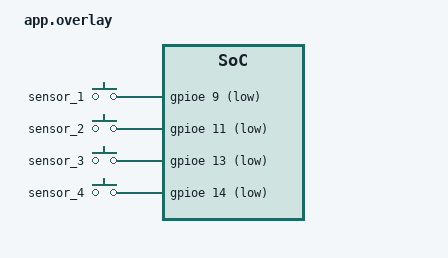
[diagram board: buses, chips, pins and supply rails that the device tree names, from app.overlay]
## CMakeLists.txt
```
# SPDX-License-Identifier: Apache-2.0

cmake_minimum_required(VERSION 3.20.0)
set(CMAKE_CXX_STANDARD 17)
find_package(Zephyr REQUIRED HINTS $ENV{ZEPHYR_BASE})
project(arm_bridge)

file(GLOB app_sources src/*.c)

include_directories(${ZEPHYR_BASE}/include)
include_directories(${CMAKE_CURRENT_SOURCE_DIR}/include)
include_directories(${CMAKE_CURRENT_SOURCE_DIR}/dts)
target_sources(app PRIVATE ${app_sources})
target_include_directories(app PRIVATE ${ZEPHYR_BASE}/include)
target_include_directories(app PRIVATE ${CMAKE_CURRENT_SOURCE_DIR}/include)
target_include_directories(app PRIVATE ${CMAKE_CURRENT_SOURCE_DIR}/dts)
```

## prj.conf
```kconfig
CONFIG_CMSIS_DSP=y
CONFIG_CMSIS_DSP_CONTROLLER=y
CONFIG_CMSIS_DSP_FASTMATH=y

CONFIG_MOTOR=y
CONFIG_MOTOR_COMMON=y
CONFIG_MOTOR_DM=y
CONFIG_MOTOR_VESC=y
CONFIG_MOTOR_LK=y
CONFIG_MOTOR_LOG_LEVEL=4
CONFIG_CAN=y
CONFIG_MOTOR_INIT_PRIORITY=90
CONFIG_FPU=y
CONFIG_FPU_SHARING=y
CONFIG_ARES=y
CONFIG_ARES_SBUS=y
CONFIG_EKF_LIB=y
CONFIG_SERIAL=y
CONFIG_SENSOR=y
CONFIG_BMI08X=n
CONFIG_WIT_HWT906=n

CONFIG_AUTO_PROBE_GYRO_BIAS=y

CONFIG_CHASSIS=y
CONFIG_PID=y

CONFIG_DUAL_PROPOSE_PROTOCOL=y
CONFIG_USB_BULK_INTERFACE=y
CONFIG_UDC_DRIVER_HIGH_SPEED_SUPPORT_ENABLED=n
CONFIG_USBD_MAX_SPEED_FULL=y

# CONFIG_SEGGER_SYSTEMVIEW=y

# CONFIG_TRACING_SYSCALL=n

CONFIG_UDC_DRIVER_LOG_LEVEL_WRN=y
CONFIG_USBD_LOG_LEVEL_WRN=y

CONFIG_LOG_MODE_DEFERRED=y

CONFIG_LOG_BUFFER_SIZE=4096

CONFIG_CBPRINTF_FP_SUPPORT=y
```

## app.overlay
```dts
/ {
	chassis: chassis {
		compatible = "ares,chassis";
		status = "okay";
		wheels = <&steerwheel4  (-5650) (-5650)>,
				<&steerwheel2 (5650) (5650)>,
				<&steerwheel1 (-5650) (5650)>,
				<&steerwheel3 (5650) (-5650)>;
		angle-pid = <&chassis_roll_angle_pid>;
		track_angle;
		max_linear_accel = "15";
	};
	steerwheel {
		steerwheel1: steerwheel1 {
			#wheel-cells = <2>;
			compatible = "ares,steerwheel";
			status = "okay";
			steer-motor = <&motor_steer0>;
			wheel-motor = <&motor_wheel0>;
			wheel-radius = "0.04";
			angle-offset = "0";
			multi_turn;
		};

		steerwheel2: steerwheel2 {
			#wheel-cells = <2>;
			compatible = "ares,steerwheel";
			status = "okay";
			steer-motor = <&motor_steer1>;
			wheel-motor = <&motor_wheel1>;
			wheel-radius = "0.04";
			angle-offset = "0";
			multi_turn;
		};

		steerwheel3: steerwheel3 {
			#wheel-cells = <2>;
			compatible = "ares,steerwheel";
			status = "okay";
			steer-motor = <&motor_steer2>;
			wheel-motor = <&motor_wheel2>;
			wheel-radius = "0.04";
			angle-offset = "0";
			multi_turn;
		};
		steerwheel4: steerwheel4 {
			#wheel-cells = <2>;
			compatible = "ares,steerwheel";
			status = "okay";
			steer-motor = <&motor_steer3>;
			wheel-motor = <&motor_wheel3>;
			wheel-radius = "0.04";
			angle-offset = "0";
			multi_turn;
		};
	};

	motor {
		motor_wheel0: motor_wheel0{
			compatible = "vesc,motor";
            id = <1>;
            can_channel = <&can1>;
            controllers = <&wheel_speed_ctrl>;
            gear_ratio = "1.0f";
            kv = "150.0f";
            pole_pairs = "14";
            p_max = "12.57f";
            v_max = "314.0f";
            t_max = "1.5f";
            i_max = "2.f";
            status = "okay";
		};

		motor_wheel1: motor_wheel1{
			compatible = "vesc,motor";
            id = <2>;
            can_channel = <&can2>;
            controllers = <&wheel_speed_ctrl>;
            gear_ratio = "1.0f";
            kv = "150.0f";
            pole_pairs = "14";
            p_max = "12.57f";
            v_max = "314.0f";
            t_max = "1.5f";
            i_max = "2.f";
            status = "okay";
		};

		motor_wheel2: motor_wheel2{
			compatible = "vesc,motor";
            id = <3>;
            can_channel = <&can2>;
            controllers = <&wheel_speed_ctrl>;
            gear_ratio = "1.0f";
            kv = "150.0f";
            pole_pairs = "14";
            p_max = "12.57f";
            v_max = "314.0f";
            t_max = "1.5f";
            i_max = "2.f";
            status = "okay";
		};
		motor_wheel3: motor_wheel3{
			compatible = "vesc,motor";
            id = <4>;
            can_channel = <&can1>;
            controllers = <&wheel_speed_ctrl>;
            gear_ratio = "1.0f";
            kv = "150.0f";
            pole_pairs = "14";
            p_max = "12.57f";
            v_max = "314.0f";
            t_max = "1.5f";
            i_max = "2.f";
            status = "okay";
		};
		motor_steer0: motor_steer0{
			compatible = "lk,motor";
			id = <1>;
			rx_id = <0x00>;
			tx_id = <0x01>;
			status = "okay";
			can_channel = <&can1>;
			controllers = <&steer_angle_ctrl &steer_speed_ctrl &steer_torque_ctrl>;
		};

		motor_steer1: motor_steer1{
			compatible = "lk,motor";
			id = <2>;
			rx_id = <0x00>;
			tx_id = <0x02>;
			status = "okay";
			can_channel = <&can2>;
			controllers = <&steer_angle_ctrl &steer_speed_ctrl &steer_torque_ctrl>;
		};

		motor_steer2: motor_steer2{
			compatible = "lk,motor";
			id = <3>;
			rx_id = <0x00>;
			tx_id = <0x03>;
			status = "okay";
			can_channel = <&can2>;
			controllers = <&steer_angle_ctrl &steer_speed_ctrl &steer_torque_ctrl>;
		};
		motor_steer3: motor_steer3{
			compatible = "lk,motor";
			id = <4>;
			rx_id = <0x00>;
			tx_id = <0x04>;
			status = "okay";
			can_channel = <&can1>;
			controllers = <&steer_angle_ctrl &steer_speed_ctrl &steer_torque_ctrl>;
		};
		dm_motor0: dm_motor0{
			compatible = "dm,motor";
			id = <1>;
			rx_id = <0x1A>;
			tx_id = <0x0A>;
			v_max = "785";
			status = "okay";
			can_channel = <&can1>;
			controllers = <&mit>;
			t_max = "5";
			freq = <1000>;
		};
		dm_motor1: dm_motor1{
			compatible = "dm,motor";
			id = <2>;
			rx_id = <0x1B>;
			tx_id = <0x0B>;
			v_max = "785";
			status = "okay";
			can_channel = <&can2>;
			controllers = <&mit>;
			t_max = "5";
			freq = <1000>;
		};
		dm_motor2: dm_motor2{
			compatible = "dm,motor";
			id = <3>;
			rx_id = <0x1C>;
			tx_id = <0x0C>;
			v_max = "785";
			status = "okay";
			can_channel = <&can2>;
			controllers = <&mit>;
			t_max = "5";
			freq = <1000>;
		};
		dm_motor3: dm_motor3{
			compatible = "dm,motor";
			id = <4>;
			rx_id = <0x1D>;
			tx_id = <0x0D>;
			v_max = "785";
			status = "okay";
			can_channel = <&can1>;
			controllers = <&mit>;
			t_max = "5";
			freq = <1000>;
		};
	};
	buttons {
        compatible = "gpio-keys";

        /* 定义第一个光电开关，节点标签为 sensor_1 */
        sensor_1: photoelectric_switch_1 {
            /* 注意：这里的 &gpio0 和 12 需要根据你实际的板子修改 */
            gpios = <&gpioe 9 (GPIO_ACTIVE_LOW | GPIO_PULL_UP)>;
        };

        /* 定义第二个光电开关，节点标签为 sensor_2 */
        sensor_2: photoelectric_switch_2 {
            /* 注意：这里的 &gpio0 和 13 需要根据你实际的板子修改 */
            gpios = <&gpioe 11 (GPIO_ACTIVE_LOW | GPIO_PULL_UP)>;
        };
		sensor_3: photoelectric_switch_3 {
            /* 注意：这里的 &gpio0 和 12 需要根据你实际的板子修改 */
            gpios = <&gpioe 13 (GPIO_ACTIVE_LOW | GPIO_PULL_UP)>;
        };

        /* 定义第二个光电开关，节点标签为 sensor_2 */
        sensor_4: photoelectric_switch_4 {
            /* 注意：这里的 &gpio0 和 13 需要根据你实际的板子修改 */
            gpios = <&gpioe 14 (GPIO_ACTIVE_LOW | GPIO_PULL_UP)>;
        };
    };
	controller {
		mit: mit{
			#controller-cells = <0>;
			compatible = "motor-controller,mit";
			k_p = "100.0";
			k_d = "1.0";
		};
		wheel_speed_ctrl: wheel_speed_ctrl {
			#controller-cells = <0>;
			compatible = "motor-controller,vo";
			target = "speed";
		};
		steer_angle_ctrl: steer_angle_ctrl {
			#controller-cells = <0>;
			compatible = "motor-controller,pv";
			pos_k_p = "40";
			pos_k_i = "0.01";
			pos_k_d = "1";
			vel_k_p = "50";
			vel_k_i = "0.1";
			vel_k_d = "2";
		};
		steer_speed_ctrl: steer_speed_ctrl {
			#controller-cells = <0>;
			compatible = "motor-controller,vo";
			target = "speed";
			k_p = "50";
			k_i = "0.1";
			k_d = "2";
		};

		steer_torque_ctrl: steer_torque_ctrl {
			#controller-cells = <0>;
			compatible = "motor-controller,vo";
			target = "torque";
			k_p = "150";
			k_i = "1.0";
			k_d = "5";
		};
	};

	pid {
		chassis_roll_angle_pid: chassis_roll_angle_pid {
			#controller-cells = <0>;
			compatible = "pid,single";
			k_p = "0.3";
			k_d = "2.7";
		};


	};

	sbus0: sbus0 {
		compatible = "ares,sbus";
		status = "okay";
	};
};
&cdc_acm_uart0 {
	status = "disabled";
};

&usart6 {
	status = "disabled";
};
```

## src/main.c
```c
#include <math.h>
#include <stdbool.h>
#include <stddef.h>
#include <stdint.h>
#include <errno.h>
#include <zephyr/device.h>
#include <zephyr/logging/log.h>
#include <zephyr/kernel.h>
#include <zephyr/drivers/motor.h>
#include <zephyr/drivers/sbus.h>
#include <zephyr/drivers/chassis.h>
#include <ares/board/init.h>
#include <ares/interface/usb/usb_bulk.h>
#include <ares/protocol/dual/dual_protocol.h>
#include <ares/ares_comm.h>
#include <sys/_stdint.h>
#include "devices.h"
#include "zephyr/drivers/gpio.h"
#include <arm_math.h>

LOG_MODULE_REGISTER(main, LOG_LEVEL_DBG);
#define deg2high(deg)              ((deg) * 3.14159f * 45.0f / 360.0f)
#define high2deg(high)             ((high) * 360.0f / (3.14159f * 45.0f))
#define CHASSIS_CMD_X_IDX          0
#define CHASSIS_CMD_Y_IDX          1
#define CHASSIS_CMD_GYRO_IDX       2
#define CHASSIS_RX_TIMEOUT_MISSES  10U
#define DM_TELEMETRY_LOG_PERIOD_MS 50U

#define SBUS_SRC_SWITCH_CH         5
#define SBUS_HEIGHT_GROUP0_CH      6
#define SBUS_HEIGHT_GROUP1_CH      7
#define SBUS_SRC_SWITCH_THRESHOLD  0.3f
#define SBUS_SWITCH_HIGH_THRESHOLD 0.3f
#define SBUS_SWITCH_LOW_THRESHOLD  -0.3f
#define SBUS_HEIGHT_GROUP_COUNT    2

#define SUSPENSION_HEIGHT_LOW       -20.0f
#define SUSPENSION_HEIGHT_MID       20.0f
#define SUSPENSION_HEIGHT_HIGH      200.0f
#define SUSPENSION_HEIGHT_MAX       400.0f
#define SUSPENSION_HEIGHT_WRAP      1350.0f
#define SUSPENSION_HEIGHT_WRAP_HALF (SUSPENSION_HEIGHT_WRAP / 2.0f)

/* ==================== USB 协议 (原 2026_R2usb_imu) ==================== */

DUAL_PROPOSE_PROTOCOL_DEFINE(dual_protocol);
ARES_BULK_INTERFACE_DEFINE(usb_bulk_interface);

static uint32_t angle_tx_fail;

static uint32_t angle_fail_last_log;

/* ==================== 底盘 / 电机 / 传感器 (原 2026_R2usb_imu, 不变) ==================== */

sync_table_t *angle_tx;

float chassis_cmd[3] = {0};
float height_cmd[4] = {0};
float angle[12] = {0};
uint8_t chassis_cmd_buf[12] = {0};
uint8_t height_cmd_buf[16] = {0};
uint8_t anglebuf[48] = {0};

static struct gpio_callback sensor1_cb_data;
static struct gpio_callback sensor2_cb_data;
static struct gpio_callback sensor3_cb_data;
static struct gpio_callback sensor4_cb_data;
static volatile uint32_t chassis_rx_count;
static volatile uint32_t height_rx_count;
static int8_t sbus_height_level[SBUS_HEIGHT_GROUP_COUNT] = {-2, -2};

void unified_sensor_callback(const struct device *port, struct gpio_callback *cb, uint32_t pins);

static void clear_chassis_cmd(void)
{
	chassis_cmd[CHASSIS_CMD_X_IDX] = 0.0f;
	chassis_cmd[CHASSIS_CMD_Y_IDX] = 0.0f;
	chassis_cmd[CHASSIS_CMD_GYRO_IDX] = 0.0f;
}

static int check_device_ready(const struct device *dev, const char *name)
{
	if (dev == NULL || !device_is_ready(dev)) {
		LOG_ERR("device not ready: %s", name);
		return -ENODEV;
	}

	return 0;
}

static int setup_sensor_input(const struct gpio_dt_spec *sensor, struct gpio_callback *cb_data,
			      const char *name)
{
	int ret;

	if (!gpio_is_ready_dt(sensor)) {
		LOG_ERR("gpio not ready: %s", name);
		return -ENODEV;
	}

	ret = gpio_pin_configure_dt(sensor, GPIO_INPUT);
	if (ret < 0) {
		LOG_ERR("failed to configure %s: %d", name, ret);
		return ret;
	}

	ret = gpio_pin_interrupt_configure_dt(sensor, GPIO_INT_EDGE_BOTH);
	if (ret < 0) {
		LOG_ERR("failed to configure irq for %s: %d", name, ret);
		return ret;
	}

	gpio_init_callback(cb_data, unified_sensor_callback, BIT(sensor->pin));
	ret = gpio_add_callback(sensor->port, cb_data);
	if (ret < 0) {
		LOG_ERR("failed to add callback for %s: %d", name, ret);
		return ret;
	}

	return 0;
}

void unified_sensor_callback(const struct device *port, struct gpio_callback *cb, uint32_t pins)
{
	if (port == sensor1.port && (pins & BIT(sensor1.pin))) {
		if (gpio_pin_get_dt(&sensor1) > 0) {
			angle[0] = 1.0f;
		} else {
			angle[0] = 0.0f;
		}
	}

	if (port == sensor2.port && (pins & BIT(sensor2.pin))) {
		if (gpio_pin_get_dt(&sensor2) > 0) {
			angle[1] = 1.0f;
		} else {
			angle[1] = 0.0f;
		}
	}

	if (port == sensor3.port && (pins & BIT(sensor3.pin))) {
		if (gpio_pin_get_dt(&sensor3) > 0) {
			angle[2] = 1.0f;
		} else {
			angle[2] = 0.0f;
		}
	}

	if (port == sensor4.port && (pins & BIT(sensor4.pin))) {
		if (gpio_pin_get_dt(&sensor4) > 0) {
			angle[3] = 1.0f;
		} else {
			angle[3] = 0.0f;
		}
	}
}

int rank[4] = {1, -1, 1, -1};
bool ups[4] = {true, true, true, true};
const struct device *dmmotor[4];

static bool dm_telemetry_log_due(void)
{
	static uint32_t last_log_ms;
	uint32_t now_ms = k_uptime_get_32();

	if ((uint32_t)(now_ms - last_log_ms) < DM_TELEMETRY_LOG_PERIOD_MS) {
		return false;
	}

	last_log_ms = now_ms;
	return true;
}

static void log_dm_telemetry_if_due(void)
{
	motor_status_t status[4] = {0};

	if (!dm_telemetry_log_due()) {
		return;
	}

	for (int i = 0; i < 4; i++) {
		int ret = motor_get(dmmotor[i], &status[i]);

		if (ret < 0) {
			LOG_WRN("[DM] read failed: m%d ret=%d", i + 1, ret);
			return;
		}
	}

	LOG_INF("[DM] pos_deg=[%.1f,%.1f,%.1f,%.1f] speed_rpm=[%.1f,%.1f,%.1f,%.1f] "
		"torque=[%.2f,%.2f,%.2f,%.2f]",
		(double)status[0].angle, (double)status[1].angle, (double)status[2].angle,
		(double)status[3].angle, (double)status[0].rpm, (double)status[1].rpm,
		(double)status[2].rpm, (double)status[3].rpm, (double)status[0].torque,
		(double)status[1].torque, (double)status[2].torque, (double)status[3].torque);
}

void run()
{
	for (int id = 0; id < 4; id++) {
		motor_set_mit(dmmotor[id], 80.0f,
			      -1.0f * rank[id] * (float)high2deg(SUSPENSION_HEIGHT_MID), 0.0f);
		ups[id] = true;
		k_sleep(K_USEC(130));
	}
}
void lift(int id, bool up)
{
	if (up && (!ups[id])) {
		motor_set_mit(dmmotor[id], 10.0f, 0.0f * rank[id], 0.0);
		ups[id] = true;
	} else if ((!up) && (ups[id])) {
		motor_set_mit(dmmotor[id], 10.0f, -510.0f * rank[id], 0.0);
		ups[id] = false;
	}
	k_sleep(K_USEC(130));
}
void lifthigh(int id, float high)
{
	if (high > SUSPENSION_HEIGHT_MAX) {
		high = SUSPENSION_HEIGHT_MAX;
	} else if (high < SUSPENSION_HEIGHT_LOW) {
		high = SUSPENSION_HEIGHT_LOW;
	}
	if (dmmotor[id] != NULL) {
		motor_set_mit(dmmotor[id], 250.0f, -1.0f * rank[id] * (float)high2deg(high),
			      -0.5f * rank[id]);
	}

	k_sleep(K_USEC(130));
}

static int8_t sbus_height_level_from_channel(uint8_t channel)
{
	float height_switch = sbus_get_percent(sbus, channel);

	if (height_switch > SBUS_SWITCH_HIGH_THRESHOLD) {
		return 1;
	}
	if (height_switch < SBUS_SWITCH_LOW_THRESHOLD) {
		return -1;
	}
	return 0;
}

static float suspension_height_from_level(int8_t level)
{
	if (level > 0) {
		return SUSPENSION_HEIGHT_HIGH;
	}
	if (level < 0) {
		return SUSPENSION_HEIGHT_LOW;
	}
	return SUSPENSION_HEIGHT_MID;
}

static void apply_suspension_pair_height(int id0, int id1, float high)
{
	lifthigh(id0, high);
	lifthigh(id1, high);
}

static void apply_sbus_suspension_height(void)
{
	int8_t group0_level = sbus_height_level_from_channel(SBUS_HEIGHT_GROUP0_CH);
	int8_t group1_level = sbus_height_level_from_channel(SBUS_HEIGHT_GROUP1_CH);

	angle[11] = sbus_get_percent(sbus, SBUS_HEIGHT_GROUP0_CH);

	if (group0_level != sbus_height_level[0]) {
		sbus_height_level[0] = group0_level;
		apply_suspension_pair_height(0, 1, suspension_height_from_level(group0_level));
	}
	if (group1_level != sbus_height_level[1]) {
		sbus_height_level[1] = group1_level;
		apply_suspension_pair_height(2, 3, suspension_height_from_level(group1_level));
	}
}

static void reset_sbus_height_levels(void)
{
	for (int i = 0; i < SBUS_HEIGHT_GROUP_COUNT; i++) {
		sbus_height_level[i] = -2;
	}
}

static void apply_usb_height_cmd_if_ready(void)
{
	if (height_rx_count == 0U) {
		return;
	}

	for (int id = 0; id < 4; id++) {
		lifthigh(id, height_cmd[id]);
	}
}

static void log_sbus_channels(void)
{
	LOG_INF("[SBUS] ch0=%.2f ch1=%.2f ch2=%.2f ch3=%.2f ch4=%.2f ch5=%.2f ch6=%.2f ch7=%.2f",
		(double)sbus_get_percent(sbus, 0), (double)sbus_get_percent(sbus, 1),
		(double)sbus_get_percent(sbus, 2), (double)sbus_get_percent(sbus, 3),
		(double)sbus_get_percent(sbus, 4), (double)sbus_get_percent(sbus, 5),
		(double)sbus_get_percent(sbus, 6), (double)sbus_get_percent(sbus, 7));
}

int cnt = 0;
void console_feedback(void *arg1, void *arg2, void *arg3)
{

	bool zeroed = false;
	float linear_magnitude;
	bool in_deadzone;
	float X = 0.0f, Y = 0.0f, angvel = 0.0f;
	bool was_sbus_mode = false;
	while (1) {
		k_msleep(2);

		float src_switch = sbus_get_percent(sbus, SBUS_SRC_SWITCH_CH);

		if (src_switch > SBUS_SRC_SWITCH_THRESHOLD) {
			if (!was_sbus_mode) {
				reset_sbus_height_levels();
			}
			was_sbus_mode = true;

			angvel = -sbus_get_percent(sbus, 0);
			X = -sbus_get_percent(sbus, 3);
			Y = -sbus_get_percent(sbus, 1);

			linear_magnitude = sqrtf(X * X + Y * Y);
			in_deadzone = ((linear_magnitude < 0.06f) && (fabsf(angvel) < 0.06f));
			if (linear_magnitude < 0.06f) {
				X = 0;
				Y = 0;
			}
			if (in_deadzone) {
				chassis_set_speed(chassis, 0, 0);
				chassis_set_gyro(chassis, 0);
				angle[8] = 0.0f;
				angle[9] = 0.0f;
				angle[10] = 0.0f;
				zeroed = true;
			} else {
				chassis_set_static(chassis, false);
				chassis_set_speed(chassis, X, Y);
				chassis_set_gyro(chassis, -angvel);
				angle[8] = X;
				angle[9] = Y;
				angle[10] = angvel * 10.0f;
				zeroed = false;
			}
			apply_sbus_suspension_height();
		} else {
			was_sbus_mode = false;

			X = chassis_cmd[CHASSIS_CMD_X_IDX];
			Y = chassis_cmd[CHASSIS_CMD_Y_IDX];
			angvel = chassis_cmd[CHASSIS_CMD_GYRO_IDX];
			chassis_set_static(chassis, false);
			chassis_set_speed(chassis, X, Y);
			chassis_set_gyro(chassis, -angvel);
			angle[8] = X;
			angle[9] = Y;
			angle[10] = angvel;
			zeroed = false;
			apply_usb_height_cmd_if_ready();
		}
		if (cnt++ % 1000 == 0) {
			LOG_INF("[CHASSIS] src=%s sw=%.2f sensor=[%.0f,%.0f,%.0f,%.0f] "
				"high=[%.1f,%.1f,%.1f,%.1f] cmd=(%.1f,%.1f,%.1f) rx(ch=%u,h=%u)",
				was_sbus_mode ? "sbus" : "usb", (double)src_switch,
				(double)angle[0], (double)angle[1], (double)angle[2],
				(double)angle[3], (double)angle[4], (double)angle[5],
				(double)angle[6], (double)angle[7], (double)X, (double)Y,
				(double)angvel, chassis_rx_count, height_rx_count);
			log_sbus_channels();
		}
	}
}

K_THREAD_DEFINE(feedback_thread, 4096, console_feedback, NULL, NULL, NULL, 2, 0, 100);
uint32_t log_cnt;

int chassis_cmd_rx_cb(int status)
{
	if (status == SYNC_PACK_STATUS_DONE) {
		memcpy(chassis_cmd, chassis_cmd_buf, sizeof(chassis_cmd));
		chassis_rx_count++;
	}
	return 0;
}

int height_cmd_rx_cb(int status)
{

	if (status == SYNC_PACK_STATUS_DONE) {
		memcpy(height_cmd, height_cmd_buf, sizeof(height_cmd));
		height_rx_count++;
	}
	return 0;
}
int prepare(void)
{
	int ret;

	ret = check_device_ready(chassis, "chassis");
	if (ret < 0) {
		return ret;
	}

	ret = check_device_ready(dm_motor1, "dm_motor1");
	if (ret < 0) {
		return ret;
	}
	ret = check_device_ready(dm_motor2, "dm_motor2");
	if (ret < 0) {
		return ret;
	}
	ret = check_device_ready(dm_motor3, "dm_motor3");
	if (ret < 0) {
		return ret;
	}
	ret = check_device_ready(dm_motor4, "dm_motor4");
	if (ret < 0) {
		return ret;
	}
	ret = check_device_ready(wheel_motor1, "wheel_motor1");
	if (ret < 0) {
		return ret;
	}
	ret = check_device_ready(wheel_motor2, "wheel_motor2");
	if (ret < 0) {
		return ret;
	}
	ret = check_device_ready(wheel_motor3, "wheel_motor3");
	if (ret < 0) {
		return ret;
	}
	ret = check_device_ready(wheel_motor4, "wheel_motor4");
	if (ret < 0) {
		return ret;
	}
	ret = check_device_ready(steer_motor1, "steer_motor1");
	if (ret < 0) {
		return ret;
	}
	ret = check_device_ready(steer_motor2, "steer_motor2");
	if (ret < 0) {
		return ret;
	}
	ret = check_device_ready(steer_motor3, "steer_motor3");
	if (ret < 0) {
		return ret;
	}
	ret = check_device_ready(steer_motor4, "steer_motor4");
	if (ret < 0) {
		return ret;
	}
	ret = check_device_ready(sbus, "sbus");
	if (ret < 0) {
		return ret;
	}

	dmmotor[0] = dm_motor1;
	dmmotor[1] = dm_motor2;
	dmmotor[2] = dm_motor3;
	dmmotor[3] = dm_motor4;
	motor_control(dm_motor1, ENABLE_MOTOR);
	motor_control(dm_motor2, ENABLE_MOTOR);
	motor_control(dm_motor3, ENABLE_MOTOR);
	motor_control(dm_motor4, ENABLE_MOTOR);
	motor_control(wheel_motor1, ENABLE_MOTOR);
	motor_control(wheel_motor2, ENABLE_MOTOR);
	motor_control(wheel_motor3, ENABLE_MOTOR);
	motor_control(wheel_motor4, ENABLE_MOTOR);
	motor_control(steer_motor1, ENABLE_MOTOR);
	motor_control(steer_motor2, ENABLE_MOTOR);
	motor_control(steer_motor3, ENABLE_MOTOR);
	motor_control(steer_motor4, ENABLE_MOTOR);

	ret = setup_sensor_input(&sensor1, &sensor1_cb_data, "sensor1");
	if (ret < 0) {
		return ret;
	}
	ret = setup_sensor_input(&sensor2, &sensor2_cb_data, "sensor2");
	if (ret < 0) {
		return ret;
	}
	ret = setup_sensor_input(&sensor3, &sensor3_cb_data, "sensor3");
	if (ret < 0) {
		return ret;
	}
	ret = setup_sensor_input(&sensor4, &sensor4_cb_data, "sensor4");
	if (ret < 0) {
		return ret;
	}

	angle[0] = gpio_pin_get_dt(&sensor1) > 0 ? 1.0f : 0.0f;
	angle[1] = gpio_pin_get_dt(&sensor2) > 0 ? 1.0f : 0.0f;
	angle[2] = gpio_pin_get_dt(&sensor3) > 0 ? 1.0f : 0.0f;
	angle[3] = gpio_pin_get_dt(&sensor4) > 0 ? 1.0f : 0.0f;

	return 0;
}
int main(void)
{
	int ret;
	sync_table_t *chassis_rx;
	sync_table_t *height_rx;
	uint32_t last_chassis_rx_count = 0U;
	uint32_t missed_chassis_cycles = 0U;
	// k_msleep(1000);/
	// run();
	k_msleep(100);
	ret = prepare();
	if (ret < 0) {
		LOG_ERR("prepare failed: %d", ret);
		return ret;
	}

	run();
	chassis_set_enabled(chassis, true);
	chassis_set_gyro(chassis, 0);
	LOG_INF("2026_R2usb_armv2 started: 0x0111=chassis, 0x0112=height, 0x0121=telem");

	ret = ares_bind_interface(&usb_bulk_interface, &dual_protocol);
	if (ret < 0) {
		LOG_ERR("failed to bind usb interface: %d", ret);
		return ret;
	}

	chassis_rx = dual_sync_add(&dual_protocol, 0x0111, chassis_cmd_buf, sizeof(chassis_cmd_buf),
				   (dual_trans_cb_t)chassis_cmd_rx_cb);
	height_rx = dual_sync_add(&dual_protocol, 0x0112, height_cmd_buf, sizeof(height_cmd_buf),
				  (dual_trans_cb_t)height_cmd_rx_cb);
	angle_tx = dual_sync_add(&dual_protocol, 0x0121, anglebuf, 48, NULL);
	if (chassis_rx == NULL || height_rx == NULL || angle_tx == NULL) {
		LOG_ERR("failed to register dual sync packs");
		return -ENOMEM;
	}

	bool angle_tx_due = false;

	while (1) {
		k_msleep(5);

		if (chassis_rx_count != last_chassis_rx_count) {
			last_chassis_rx_count = chassis_rx_count;
			missed_chassis_cycles = 0U;
		} else if (missed_chassis_cycles < CHASSIS_RX_TIMEOUT_MISSES) {
			missed_chassis_cycles++;
		}

		if (missed_chassis_cycles >= CHASSIS_RX_TIMEOUT_MISSES) {
			clear_chassis_cmd();
		}

		for (int i = 0; i < 4; i++) {
			float height =
				-1.0f * rank[i] * deg2high((float)motor_get_angle(dmmotor[i]));

			if (height > SUSPENSION_HEIGHT_WRAP_HALF) {
				height -= SUSPENSION_HEIGHT_WRAP;
			} else if (height < -SUSPENSION_HEIGHT_WRAP_HALF) {
				height += SUSPENSION_HEIGHT_WRAP;
			}
			angle[i + 4] = height;
		}
		// log_dm_telemetry_if_due();
		memcpy(anglebuf, angle, sizeof(angle));

		/* Keep telemetry at 100Hz. */
		angle_tx_due = !angle_tx_due;

		if (angle_tx_due) {
			int ret = dual_sync_flush(&dual_protocol, angle_tx);
			if (ret != 0 && ret != -EBUSY) {
				angle_tx_fail++;
				if (angle_fail_last_log == 0 ||
				    angle_tx_fail - angle_fail_last_log >= 100) {
					LOG_ERR("[USB_ANGLE_FAIL] ret=%d (fail=%u)", ret,
						angle_tx_fail);
					angle_fail_last_log = angle_tx_fail;
				}
			}
		}
	}

	return 0;
}
```

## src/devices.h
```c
#include <zephyr/device.h>
#include <zephyr/drivers/gpio.h>

#define SENSOR1_NODE DT_NODELABEL(sensor_1)
#define SENSOR2_NODE DT_NODELABEL(sensor_2)
#define SENSOR3_NODE DT_NODELABEL(sensor_3)
#define SENSOR4_NODE DT_NODELABEL(sensor_4)
static const struct gpio_dt_spec sensor1 = GPIO_DT_SPEC_GET(SENSOR1_NODE, gpios);
static const struct gpio_dt_spec sensor2 = GPIO_DT_SPEC_GET(SENSOR2_NODE, gpios);
static const struct gpio_dt_spec sensor3 = GPIO_DT_SPEC_GET(SENSOR3_NODE, gpios);
static const struct gpio_dt_spec sensor4 = GPIO_DT_SPEC_GET(SENSOR4_NODE, gpios);

#define WHEELMOTOR1_NODE DT_NODELABEL(motor_wheel0)
#define WHEELMOTOR2_NODE DT_NODELABEL(motor_wheel1)
#define WHEELMOTOR3_NODE DT_NODELABEL(motor_wheel2)
#define WHEELMOTOR4_NODE DT_NODELABEL(motor_wheel3)

#define STEERMOTOR1_NODE DT_NODELABEL(motor_steer0)
#define STEERMOTOR2_NODE DT_NODELABEL(motor_steer1)
#define STEERMOTOR3_NODE DT_NODELABEL(motor_steer2)
#define STEERMOTOR4_NODE DT_NODELABEL(motor_steer3)

#define DMOTOR_NODE1 DT_NODELABEL(dm_motor0)
#define DMOTOR_NODE2 DT_NODELABEL(dm_motor1)
#define DMOTOR_NODE3 DT_NODELABEL(dm_motor2)
#define DMOTOR_NODE4 DT_NODELABEL(dm_motor3)

#define CHASSIS_NODE DT_NODELABEL(chassis)
/* IMU disabled */
/* #define HWTIMU_NODE DT_NODELABEL(hwtimu) */

const struct device *wheel_motor1 = DEVICE_DT_GET(WHEELMOTOR1_NODE);
const struct device *wheel_motor2 = DEVICE_DT_GET(WHEELMOTOR2_NODE);
const struct device *wheel_motor3 = DEVICE_DT_GET(WHEELMOTOR3_NODE);
const struct device *wheel_motor4 = DEVICE_DT_GET(WHEELMOTOR4_NODE);

const struct device *steer_motor1 = DEVICE_DT_GET(STEERMOTOR1_NODE);
const struct device *steer_motor2 = DEVICE_DT_GET(STEERMOTOR2_NODE);
const struct device *steer_motor3 = DEVICE_DT_GET(STEERMOTOR3_NODE);
const struct device *steer_motor4 = DEVICE_DT_GET(STEERMOTOR4_NODE);

const struct device *dm_motor1 = DEVICE_DT_GET(DMOTOR_NODE1);
const struct device *dm_motor2 = DEVICE_DT_GET(DMOTOR_NODE2);
const struct device *dm_motor3 = DEVICE_DT_GET(DMOTOR_NODE3);
const struct device *dm_motor4 = DEVICE_DT_GET(DMOTOR_NODE4);

const struct device *chassis = DEVICE_DT_GET(CHASSIS_NODE);
/* const struct device *hwtimu = DEVICE_DT_GET(HWTIMU_NODE); */

#define SBUS_NODE DT_NODELABEL(sbus0)
const struct device *sbus = DEVICE_DT_GET(SBUS_NODE);
```
